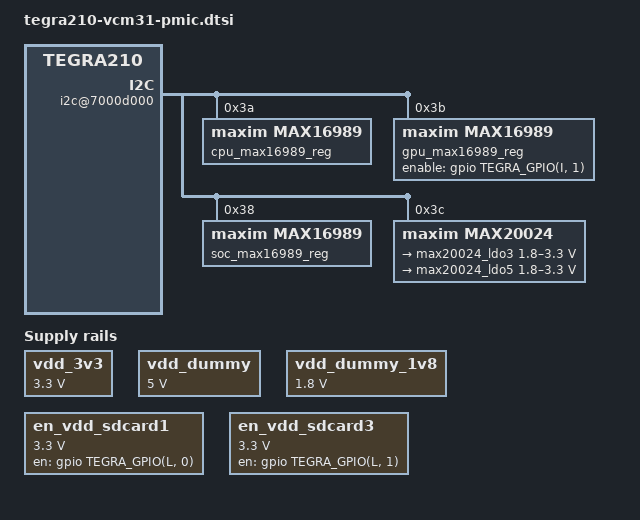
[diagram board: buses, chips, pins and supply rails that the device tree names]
/*
 * Copyright (c) 2015-2016, NVIDIA CORPORATION.  All rights reserved.
 *
 * This program is free software; you can redistribute it and/or modify
 * it under the terms of the GNU General Public License as published by
 * the Free Software Foundation; either version 2 of the License, or
 * (at your option) any later version.
 *
 * This program is distributed in the hope that it will be useful, but WITHOUT
 * ANY WARRANTY; without even the implied warranty of MERCHANTABILITY or
 * FITNESS FOR A PARTICULAR PURPOSE.  See the GNU General Public License for
 * more details.
 *
 * You should have received a copy of the GNU General Public License along
 * with this program; if not, write to the Free Software Foundation, Inc.,
 * 51 Franklin Street, Fifth Floor, Boston, MA  02110-1301, USA.
 */

#include <dt-bindings/regulator/regulator.h>
#include <dt-bindings/mfd/max77620.h>
#include <dt-bindings/gpio/tegra-gpio.h>
#include <dt-bindings/gpio/tmpm32x-gpio.h>


/ {

	i2c@7000d000 {
		nvidia,bit-banging-xfer-after-shutdown;

		cpu_max16989_reg: max16989@3a {
			compatible = "maxim,max16989";
			reg = <0x3a>;
			status = "okay";
			regulator-name = "vdd-cpu";
			regulator-boot-on;
			regulator-always-on;
			regulator-voltage-steps = <10000>;
			regulator-min-microvolt = <500000>;
			regulator-max-microvolt = <1270000>;
			regulator-n-voltages = <78>;
		};

		gpu_max16989_reg: max16989@3b {
			compatible = "maxim,max16989";
			reg = <0x3b>;
			status = "okay";
			regulator-name = "vdd-gpu";
			regulator-boot-off;
			regulator-voltage-steps = <10000>;
			regulator-min-microvolt = <500000>;
			regulator-max-microvolt = <1270000>;
			regulator-n-voltages = <78>;
			regulator-enable-ramp-delay = <210>;
			maxim,enable-gpio = <&gpio TEGRA_GPIO(I, 1) 0>;
		};

		soc_max16989_reg: max16989@38 {
			compatible = "maxim,max16989";
			reg = <0x38>;
			status = "okay";
			regulator-name = "vdd-soc";
			regulator-voltage-steps = <10000>;
			regulator-max-microvolt = <1270000>;
			regulator-min-microvolt = <500000>;
			regulator-n-voltages = <78>;
		};

		max20024: max20024@3c {
			compatible = "maxim,max20024";
			reg = <0x3c>;
			interrupts = <0 86 IRQ_TYPE_NONE>;

			#interrupt-cells = <2>;
                        interrupt-controller;

			gpio-controller;
			#gpio-cells = <2>;

			maxim,system-pmic-power-off;

			watchdog {
				status = "disabled";
			};

			regulators {
				max20024_ldo3: ldo3 {
					regulator-name = "vddio-sdmmc1";
					regulator-min-microvolt = <1800000>;
					regulator-max-microvolt = <3300000>;
					maxim,active-fps-source = <MAX77620_FPS_SRC_DEF>;
					regulator-enable-ramp-delay = <50>;
					regulator-disable-ramp-delay = <1110>;
					regulator-ramp-delay = <100000>;
					regulator-ramp-delay-scale = <200>;
				};

				max20024_ldo5: ldo5 {
					regulator-name = "vddio-sdmmc3";
					regulator-min-microvolt = <1800000>;
					regulator-max-microvolt = <3300000>;
					 maxim,active-fps-source = <MAX77620_FPS_SRC_DEF>;
					regulator-enable-ramp-delay = <50>;
					regulator-disable-ramp-delay = <1110>;
					regulator-ramp-delay = <100000>;
					regulator-ramp-delay-scale = <200>;
				};
			};
		};
	};

	regulators {
		compatible = "simple-bus";
		device_type = "fixed-regulators";
		#address-cells = <1>;
		#size-cells = <0>;

		vdd_3v3: regulator@0 {
			compatible = "regulator-fixed-sync";
			reg = <0>;
			regulator-name = "vdd-3v3";
			regulator-min-microvolt = <3300000>;
			regulator-max-microvolt = <3300000>;
			regulator-always-on;
		};

		vdd_dummy: regulator@2 {
			compatible = "regulator-fixed";
			reg = <2>;
			regulator-name = "vdd_dummy";
			regulator-min-microvolt = <5000000>;
			regulator-max-microvolt = <5000000>;
			regulator-always-on;
		};

		vdd_dummy_1v8: regulator@3 {
			compatible = "regulator-fixed";
			reg = <3>;
			regulator-name = "vdd_dummy_1v8";
			regulator-min-microvolt = <1800000>;
			regulator-max-microvolt = <1800000>;
			regulator-always-on;
		};

		en_vdd_sdcard1: regulator@4 {
			compatible = "regulator-fixed-sync";
			reg = <4>;
			regulator-name = "en-vdd-sdcard1";
			regulator-min-microvolt = <3300000>;
			regulator-max-microvolt = <3300000>;
			gpio = <&gpio TEGRA_GPIO(L, 0) 0>;
			enable-active-high;
		};

		en_vdd_sdcard3: regulator@5 {
			compatible = "regulator-fixed-sync";
			reg = <5>;
			regulator-name = "en-vdd-sdcard3";
			regulator-min-microvolt = <3300000>;
			regulator-max-microvolt = <3300000>;
			gpio = <&gpio TEGRA_GPIO(L, 1) 0>;
			enable-active-high;
		};

		/* FIXME: vdd_wl_bt is needed to be controlled by driver. */
		vdd_wl_bt: regulator@6 {
			compatible = "regulator-fixed-sync";
			reg = <6>;
			status = "disabled";
			regulator-name = "vdd_wl_bt";
			regulator-min-microvolt = <3300000>;
			regulator-max-microvolt = <3300000>;
			enable-active-high;
			regulator-enable-ramp-delay = <500>;
			regulator-always-on;
		};

		spmic_ldo7: regulator@7 {
			compatible = "regulator-pmic-otp";
			reg = <7>;
			regulator-name = "spmic-ldo7";
			regulator-min-microvolt = <1050000>;
			regulator-max-microvolt = <1050000>;
			regulator-boot-on;
		};

		spmic_sd2: regulator@8 {
			compatible = "regulator-pmic-otp";
			reg = <8>;
			regulator-name = "spmic-sd2";
			regulator-min-microvolt = <1800000>;
			regulator-max-microvolt = <1800000>;
			regulator-boot-on;
		};
	};
};
